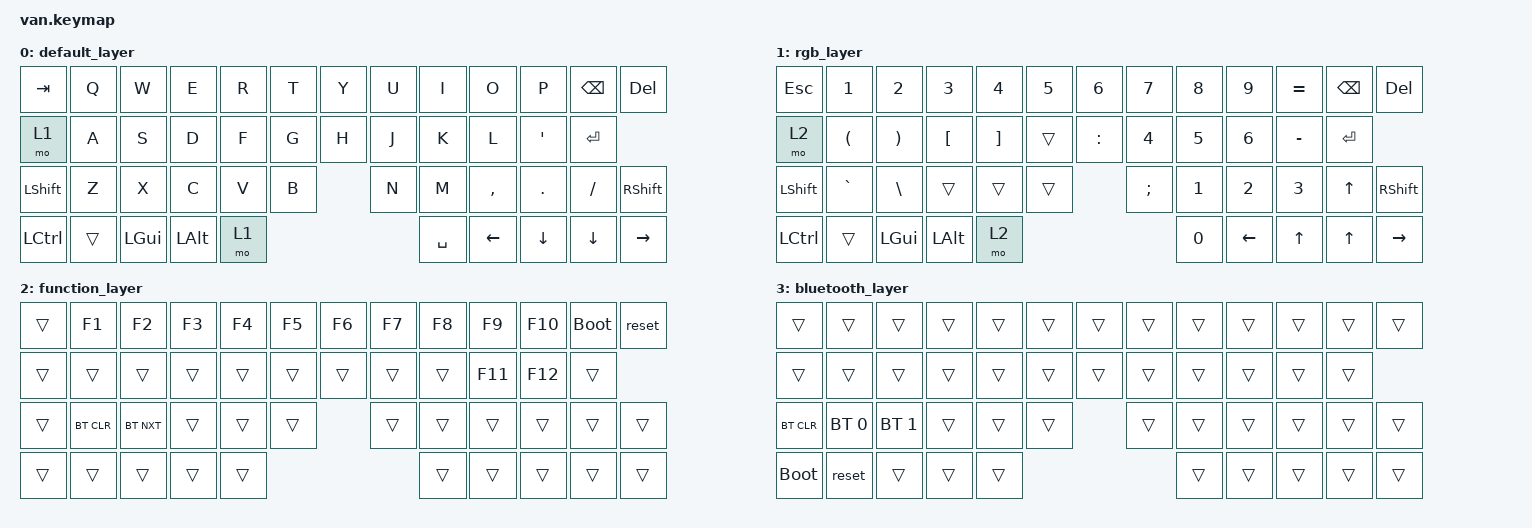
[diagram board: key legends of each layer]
/*
 * Copyright (c) 2021 Nick Winans
 *
 * SPDX-License-Identifier: MIT
 */

#include <behaviors.dtsi>
#include <dt-bindings/zmk/keys.h>
#include <dt-bindings/zmk/rgb.h>
#include <dt-bindings/zmk/bt.h>

/ {
	keymap {
		compatible = "zmk,keymap";

		default_layer {
// ------------------------------------------------------------------------------------------
// | ESC |  1  |  2  |  3  |  4  |  5  |  6  |  7  |  8  |  9  |  0  |  -  |  =  |   BKSP   |
// | TAB  |  Q  |  W  |  E  |  R  |  T  |  Y  |  U  |  I  |  O  |  P  |  [  |  ]  |   "|"   |
// | CAPS  |  A  |  S  |  D  |  F  |  G  |  H  |  J  |  K  |  L  |  ;  |  '  |     ENTER    |
// |  SHIFT  |  Z  |  X  |  C  |  V  |  B  |  N  |  M  |  ,  |  .  |  /  |      SHIFT       |
// |  CTL  |  WIN  |  ALT  |            SPACE              |  ALT  |  WIN  |  MO(1) |  CTL  |
// ------------------------------------------------------------------------------------------
			bindings = <
	&kp TAB  &kp Q  &kp W  &kp E  &kp R  &kp T  &kp Y  &kp U  &kp I  &kp O  &kp P  &kp BSPC &kp DEL
	&mo 1  &kp A  &kp S  &kp D  &kp F  &kp G  &kp H  &kp J  &kp K  &kp L  &kp APOS &kp ENTER           
	&kp LSHFT   &kp Z  &kp X  &kp C  &kp V  &kp B  &kp N  &kp M  &kp COMMA &kp DOT &kp FSLH &kp RSHFT
	&kp LCTRL &trans &kp LGUI &kp LALT &mo 1 &kp  SPACE       &kp LEFT  &kp DOWN  &kp DOWN &kp RIGHT  
			>;
		};

		rgb_layer {
// ------------------------------------------------------------------------------------------------
// | BT CLR | F1  | F2  | F3  | F4  | F5  | F6  | F7  | F8  | F9  | F10  | F11 | F12 | EFFECT REV |
// |  BT 1   |   |  UP |   | HUEUP | SATUP | BRIUP | SPDUP |   |     |    |     |     |           |
// |   BT 2   | LT |  DN  | RT | HUEDN | SATDN | BRIDN | SPDDN |   |     |   |     |  EFFECT FORW |
// |    BT 3     |     |      |      |     |     |     |     |     |     |     |                  |
// |   BT 4  |      |      |             TOG RGB                | PRT SCR |       |       |  DEL  |
// ------------------------------------------------------------------------------------------------
			bindings = <
	&kp ESC  &kp N1  &kp N2  &kp N3  &kp N4  &kp N5  &kp N6  &kp N7  &kp N8  &kp N9  &kp EQUAL  &kp BSPC &kp DEL
	&mo 2  &kp LPAR  &kp RPAR  &kp LBKT  &kp RBKT  &trans  &kp COLON  &kp N4  &kp N5  &kp N6  &kp MINUS &kp ENTER          
	&kp LSHFT   &kp GRAVE &kp BSLH  &trans  &trans &trans  &kp SEMI &kp N1  &kp N2 &kp N3 &kp UP &kp RSHFT
	&kp LCTRL &trans &kp LGUI &kp LALT &mo 2 &kp N0 &kp LEFT     &kp UP  &kp UP  &kp RIGHT   
			>;
		};

		function_layer {
// ------------------------------------------------------------------------------------------------
// | BT CLR | F1  | F2  | F3  | F4  | F5  | F6  | F7  | F8  | F9  | F10  | F11 | F12 | EFFECT REV |
// |  BT 1   |   |  UP |   | HUEUP | SATUP | BRIUP | SPDUP |   |     |    |     |     |           |
// |   BT 2   | LT |  DN  | RT | HUEDN | SATDN | BRIDN | SPDDN |   |     |   |     |  EFFECT FORW |
// |    BT 3     |     |      |      |     |     |     |     |     |     |     |                  |
// |   BT 4  |      |      |             TOG RGB                | PRT SCR |       |       |  DEL  |
// ------------------------------------------------------------------------------------------------
			bindings = <
	&trans  &kp F1  &kp F2  &kp F3  &kp F4  &kp F5  &kp F6  &kp F7  &kp F8  &kp F9  &kp F10  &bootloader &reset
	&trans  &trans  &trans  &trans  &trans  &trans  &trans  &trans  &trans  &kp F11  &kp F12 &trans          
	&trans   &bt BT_CLR &bt BT_NXT  &trans  &trans  &trans  &trans &trans  &trans &trans &trans &trans
	&trans &trans &trans    &trans &trans &trans         &trans                     &trans  &trans  &trans 
			>;
		};
		
		bluetooth_layer {
// ------------------------------------------------------------------------------------------------
// | BT CLR | F1  | F2  | F3  | F4  | F5  | F6  | F7  | F8  | F9  | F10  | F11 | F12 | EFFECT REV |
// |  BT 1   |   |  UP |   | HUEUP | SATUP | BRIUP | SPDUP |   |     |    |     |     |           |
// |   BT 2   | LT |  DN  | RT | HUEDN | SATDN | BRIDN | SPDDN |   |     |   |     |  EFFECT FORW |
// |    BT 3     |     |      |      |     |     |     |     |     |     |     |                  |
// |   BT 4  |      |      |             TOG RGB                | PRT SCR |       |       |  DEL  |
// ------------------------------------------------------------------------------------------------
			bindings = <
	&trans &trans  &trans  &trans  &trans &trans &trans  &trans &trans  &trans  &trans  &trans &trans
	&trans  &trans  &trans  &trans  &trans  &trans  &trans  &trans  &trans  &trans  &trans &trans          
	&bt BT_CLR   &bt BT_SEL 0 &bt BT_SEL 1  &trans  &trans  &trans  &trans &trans  &trans &trans &trans          &trans
	&bootloader &reset &trans    &trans &trans &trans         &trans                     &trans  &trans  &trans 
			>;
		};
	};
};
